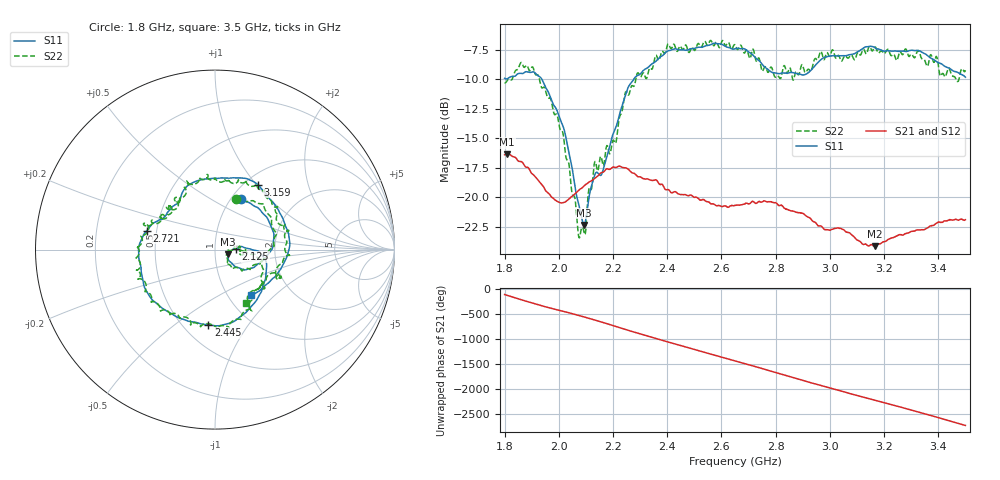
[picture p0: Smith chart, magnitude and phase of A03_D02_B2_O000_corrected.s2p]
! Created with skrf 1.9.0 (http://scikit-rf.org).
# Hz S RI R 50.0
!freq ReS11 ImS11 ReS21 ImS21 ReS12 ImS12 ReS22 ImS22
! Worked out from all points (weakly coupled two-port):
!   1601 points, 1.8 GHz to 3.5 GHz, reference 50 ohm
!   highest |S21| = -16.36 dB at 1.81 GHz (marker M1); lowest = -24.1 dB at 3.165 GHz (marker M2)
!   lowest |S11| = -22.3 dB at 2.093 GHz (marker M3), VSWR 1.17, Z = 57.8 - j2.75 ohm
!   |S11| at or under -10 dB: 1.937 GHz to 2.277 GHz (339.2 MHz wide, 16.1 % of centre)
!   |S22| runs from -23.4 to -6.7 dB; largest |S21 - S12| = 0.0024
!   S11 on the Smith chart (normalised r, x): 1.8 GHz: 1.11, +0.70; 2.125 GHz: 1.26, +0.01; 2.445 GHz: 0.66, -0.67; 2.721 GHz: 0.44, +0.11; 3.159 GHz: 1.14, +1.02; 3.5 GHz: 1.27, -0.72
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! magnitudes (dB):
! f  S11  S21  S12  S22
! 1.8 GHz  -9.9  -16.4  -16.4  -10.3
! 1.81 GHz  -10.0  -16.4  -16.4  -10.1
! 1.902 GHz  -9.4  -18.0  -18.0  -9.0
! 1.968 GHz  -11.5  -19.8  -19.8  -11.6
! 2.021 GHz  -14.4  -20.4  -20.4  -15.6
! 2.072 GHz  -20.4  -19.4  -19.4  -23.1
! 2.084 GHz  -21.7  -19.2  -19.2  -22.6
! 2.093 GHz  -22.3  -19.0  -19.1  -23.0
! 2.125 GHz  -18.6  -18.5  -18.5  -18.4
! 2.16 GHz  -17.9  -17.9  -17.8  -17.0
! 2.209 GHz  -14.1  -17.5  -17.4  -15.4
! 2.259 GHz  -10.5  -17.7  -17.7  -11.3
! 2.367 GHz  -8.3  -18.8  -18.7  -8.4
! 2.445 GHz  -7.5  -19.7  -19.7  -7.2
! 2.65 GHz  -7.4  -20.7  -20.6  -7.1
! 2.721 GHz  -8.1  -20.4  -20.3  -7.8
! 2.81 GHz  -9.5  -20.7  -20.6  -9.8
! 2.934 GHz  -9.2  -21.9  -21.9  -9.1
! 3.159 GHz  -7.3  -24.1  -24.0  -7.6
! 3.165 GHz  -7.3  -24.1  -24.1  -7.3
! 3.217 GHz  -7.6  -23.5  -23.5  -7.6
! 3.5 GHz  -9.8  -21.9  -21.9  -9.2
